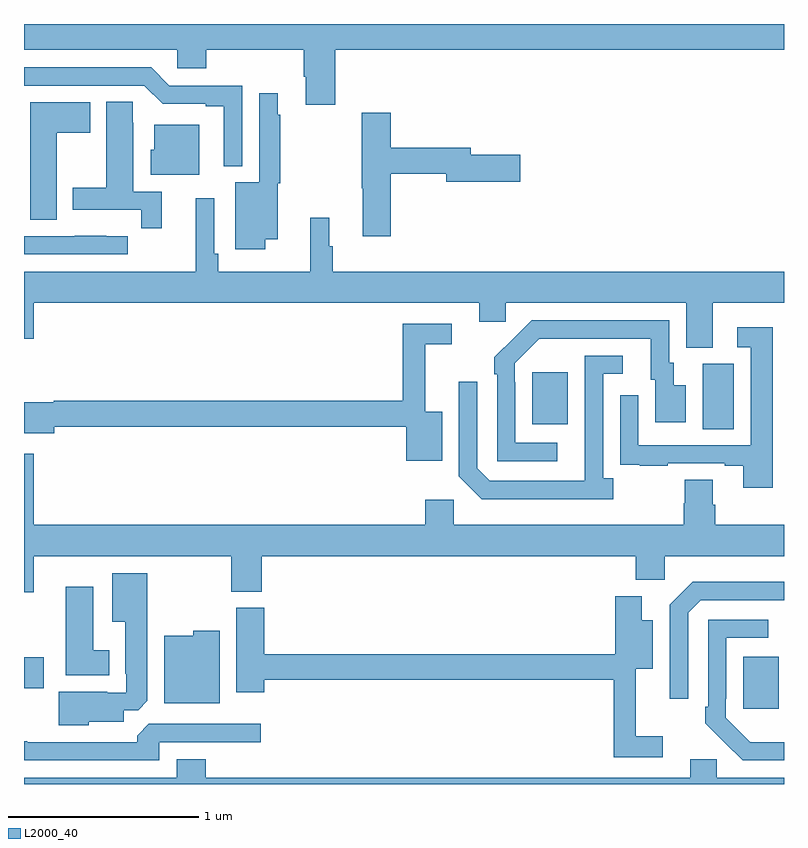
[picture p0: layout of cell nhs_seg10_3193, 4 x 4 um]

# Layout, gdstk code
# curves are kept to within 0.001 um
import gdstk
lib = gdstk.Library(unit=1e-6, precision=1e-09)
def R(c, l, rs):  # rectangles x0, y0, x1, y1
    for r in rs: c.add(gdstk.rectangle(r[:2], r[2:], *l))
def P(c, l, *ps):  # polygons
    for p in ps: c.add(gdstk.Polygon(p, *l))
L2000_40 = (2000, 40)

nhs_seg10_3193 = lib.new_cell('nhs_seg10_3193')
R(nhs_seg10_3193, L2000_40, [(288.785,1248.897,288.973,1249.171), (285,1249.004,285.103,1249.167), (288.572,1250.368,288.736,1250.712), (287.675,1250.393,287.863,1250.668)])
P(nhs_seg10_3193, L2000_40, [(286.637,1252.364),(289,1252.364),(289,1252.5),(285,1252.5),(285,1252.364),(285.807,1252.364),(285.807,1252.266),(285.959,1252.266),(285.959,1252.364),(286.472,1252.364),(286.472,1252.222),(286.484,1252.222),(286.484,1252.074),(286.637,1252.074)],
  [(286.149,1252.176),(285.765,1252.176),(285.669,1252.272),(285,1252.272),(285,1252.176),(285.633,1252.176),(285.729,1252.08),(285.956,1252.08),(285.956,1252.068),(286.052,1252.068),(286.052,1251.752),(286.149,1251.752)],
  [(286.27,1251.368),(286.336,1251.368),(286.336,1251.663),(286.348,1251.663),(286.348,1252.022),(286.336,1252.022),(286.336,1252.135),(286.239,1252.135),(286.239,1251.667),(286.112,1251.667),(286.112,1251.315),(286.27,1251.315)],
  [(285.725,1251.618),(285.574,1251.618),(285.574,1251.98),(285.573,1251.98),(285.573,1252.091),(285.434,1252.091),(285.434,1251.639),(285.257,1251.639),(285.257,1251.522),(285.616,1251.522),(285.616,1251.426),(285.725,1251.426)],
  [(285.172,1251.928),(285.349,1251.928),(285.349,1252.087),(285.032,1252.087),(285.032,1251.577),(285.033,1251.577),(285.033,1251.469),(285.172,1251.469)],
  [(286.931,1251.712),(287.222,1251.712),(287.222,1251.67),(287.611,1251.67),(287.611,1251.812),(287.35,1251.812),(287.35,1251.848),(286.931,1251.848),(286.931,1252.033),(286.777,1252.033),(286.777,1251.635),(286.784,1251.635),(286.784,1251.384),(286.931,1251.384)],
  [(285.922,1251.97),(285.686,1251.97),(285.686,1251.837),(285.668,1251.837),(285.668,1251.707),(285.922,1251.707)],
  [(288.625,1251.032),(289,1251.032),(289,1251.196),(286.625,1251.196),(286.625,1251.33),(286.606,1251.33),(286.606,1251.481),(286.507,1251.481),(286.507,1251.196),(286.022,1251.196),(286.022,1251.292),(286.002,1251.292),(286.002,1251.583),(285.905,1251.583),(285.905,1251.196),(285,1251.196),(285,1250.844),(285.052,1250.844),(285.052,1251.032),(287.396,1251.032),(287.396,1250.934),(287.535,1250.934),(287.535,1251.032),(288.485,1251.032),(288.485,1250.797),(288.625,1250.797)],
  [(285.547,1251.384),(285.434,1251.384),(285.434,1251.385),(285.268,1251.385),(285.268,1251.384),(285,1251.384),(285,1251.288),(285.547,1251.288)],
  [(287.806,1250.295),(287.586,1250.295),(287.586,1250.615),(287.583,1250.615),(287.583,1250.715),(287.712,1250.844),(288.299,1250.844),(288.299,1250.628),(288.323,1250.628),(288.323,1250.403),(288.484,1250.403),(288.484,1250.599),(288.421,1250.599),(288.421,1250.718),(288.396,1250.718),(288.396,1250.94),(287.672,1250.94),(287.475,1250.745),(287.475,1250.657),(287.49,1250.657),(287.49,1250.199),(287.806,1250.199)],
  [(287.2,1250.458),(287.111,1250.458),(287.111,1250.814),(287.251,1250.814),(287.251,1250.922),(286.993,1250.922),(286.993,1250.516),(285.156,1250.516),(285.156,1250.509),(285,1250.509),(285,1250.345),(285.16,1250.345),(285.16,1250.38),(287.013,1250.38),(287.013,1250.201),(287.2,1250.201)],
  [(288.941,1250.905),(288.753,1250.905),(288.753,1250.799),(288.825,1250.799),(288.825,1250.283),(288.234,1250.283),(288.234,1250.545),(288.138,1250.545),(288.138,1250.29),(288.139,1250.29),(288.139,1250.181),(288.241,1250.181),(288.241,1250.175),(288.389,1250.175),(288.389,1250.187),(288.689,1250.187),(288.689,1250.175),(288.785,1250.175),(288.785,1250.058),(288.941,1250.058)],
  [(288.1,1250.11),(288.048,1250.11),(288.048,1250.658),(288.151,1250.658),(288.151,1250.754),(287.952,1250.754),(287.951,1250.097),(287.451,1250.097),(287.385,1250.163),(287.385,1250.617),(287.289,1250.617),(287.289,1250.121),(287.41,1250),(288.1,1250)],
  [(285.052,1249.7),(286.09,1249.7),(286.09,1249.513),(286.25,1249.513),(286.25,1249.7),(288.221,1249.7),(288.221,1249.574),(288.372,1249.574),(288.372,1249.7),(289,1249.7),(289,1249.864),(288.638,1249.864),(288.638,1249.97),(288.625,1249.97),(288.625,1250.102),(288.478,1250.102),(288.478,1249.977),(288.473,1249.977),(288.473,1249.864),(287.262,1249.864),(287.262,1249.996),(287.111,1249.996),(287.111,1249.864),(285.052,1249.864),(285.052,1250.239),(285,1250.239),(285,1249.508),(285.052,1249.508)],
  [(285.342,1248.827),(285.526,1248.827),(285.526,1248.888),(285.6,1248.888),(285.649,1248.937),(285.649,1249.609),(285.464,1249.609),(285.464,1249.355),(285.533,1249.355),(285.533,1249.081),(285.537,1249.081),(285.537,1248.981),(285.437,1248.981),(285.437,1248.985),(285.182,1248.985),(285.182,1248.809),(285.342,1248.809)],
  [(288.495,1249.401),(288.561,1249.467),(289,1249.467),(289,1249.564),(288.52,1249.564),(288.399,1249.443),(288.399,1248.948),(288.495,1248.948)],
  [(285.448,1249.204),(285.364,1249.204),(285.364,1249.537),(285.221,1249.537),(285.221,1249.073),(285.448,1249.073)],
  [(288.361,1248.751),(288.221,1248.751),(288.221,1249.106),(288.31,1249.106),(288.31,1249.363),(288.25,1249.363),(288.25,1249.489),(288.111,1249.489),(288.111,1249.184),(286.265,1249.184),(286.265,1249.428),(286.118,1249.428),(286.118,1248.984),(286.265,1248.984),(286.265,1249.048),(288.103,1249.048),(288.103,1248.642),(288.361,1248.642)],
  [(289,1248.72),(288.822,1248.721),(288.693,1248.849),(288.693,1248.949),(288.696,1248.949),(288.696,1249.269),(288.916,1249.269),(288.916,1249.365),(288.6,1249.365),(288.6,1248.907),(288.585,1248.907),(288.585,1248.819),(288.782,1248.624),(289,1248.624)],
  [(286.03,1249.306),(285.891,1249.306),(285.891,1249.279),(285.737,1249.279),(285.737,1248.926),(286.03,1248.926)],
  [(285.711,1248.72),(286.246,1248.72),(286.246,1248.816),(285.657,1248.816),(285.596,1248.754),(285.596,1248.72),(285.016,1248.72),(285.016,1248.725),(285,1248.725),(285,1248.624),(285.711,1248.624)],
  [(289,1248.532),(288.645,1248.532),(288.645,1248.63),(288.506,1248.63),(288.506,1248.532),(285.956,1248.532),(285.956,1248.631),(285.803,1248.631),(285.803,1248.532),(285,1248.532),(285,1248.5),(289,1248.5)])

lib.write_gds('nhs_seg10_3193.gds')
